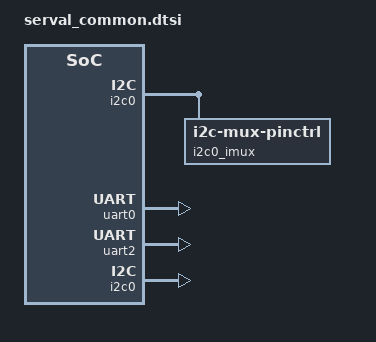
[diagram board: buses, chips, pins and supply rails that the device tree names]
// SPDX-License-Identifier: (GPL-2.0+ OR MIT)
/*
 * Copyright (c) 2020 Microsemi Corporation
 */

#include "serval.dtsi"

/ {
	aliases {
		serial0 = &uart0;
		i2c104  = &i2c104;
		i2c105  = &i2c105;
		i2c106  = &i2c106;
		i2c107  = &i2c107;
		i2c108  = &i2c108;
		i2c109  = &i2c109;
	};

	chosen {
		stdout-path = "serial0:115200n8";
	};

	i2c0_imux: i2c0-imux{
		compatible = "i2c-mux-pinctrl";
		#address-cells = <1>;
		#size-cells = <0>;
		i2c-parent = <&i2c0>;
		pinctrl-names =
		"i2c104", "i2c105", "i2c106", "i2c107",
		"i2c108", "i2c109", "idle";
		pinctrl-0 = <&i2cmux_0>;
		pinctrl-1 = <&i2cmux_1>;
		pinctrl-2 = <&i2cmux_2>;
		pinctrl-3 = <&i2cmux_3>;
		pinctrl-4 = <&i2cmux_4>;
		pinctrl-5 = <&i2cmux_5>;
		pinctrl-6 = <&i2cmux_pins_i>;
		i2c104: i2c_sfp0@0 {
			reg = <0>;
			#address-cells = <1>;
			#size-cells = <0>;
		};
		i2c105: i2c_sfp1@1 {
			reg = <1>;
			#address-cells = <1>;
			#size-cells = <0>;
		};
		i2c106: i2c_sfp2@2 {
			reg = <2>;
			#address-cells = <1>;
			#size-cells = <0>;
		};
		i2c107: i2c_sfp3@3 {
			reg = <3>;
			#address-cells = <1>;
			#size-cells = <0>;
		};
		i2c108: i2c_sfp4@4 {
			reg = <4>;
			#address-cells = <1>;
			#size-cells = <0>;
		};
		i2c109: i2c_sfp5@5 {
			reg = <5>;
			#address-cells = <1>;
			#size-cells = <0>;
		};
};

};

&uart0 {
	status = "okay";
};

&uart2 {
	status = "okay";
};

&gpio {
	i2c_pins: i2c-pins {
		pins = "GPIO_7"; /* No "default" scl for i2c0 */
		function = "twi";
	};
	i2cmux_pins_i: i2cmux-pins {
		pins = "GPIO_11", "GPIO_12", "GPIO_18", "GPIO_19",
			"GPIO_20", "GPIO_21";
		function = "twi_scl_m";
		output-low;
	};
	i2cmux_0: i2cmux-0-pins {
		pins = "GPIO_11";
		function = "twi_scl_m";
		output-high;
	};
	i2cmux_1: i2cmux-1-pins {
		pins = "GPIO_12";
		function = "twi_scl_m";
		output-high;
	};
	i2cmux_2: i2cmux-2-pins {
		pins = "GPIO_18";
		function = "twi_scl_m";
		output-high;
	};
	i2cmux_3: i2cmux-3-pins {
		pins = "GPIO_19";
		function = "twi_scl_m";
		output-high;
	};
	i2cmux_4: i2cmux-4-pins {
		pins = "GPIO_20";
		function = "twi_scl_m";
		output-high;
	};
	i2cmux_5: i2cmux-5-pins {
		pins = "GPIO_21";
		function = "twi_scl_m";
		output-high;
	};
};

&i2c0 {
	status = "okay";
	i2c-sda-hold-time-ns = <300>;
};

